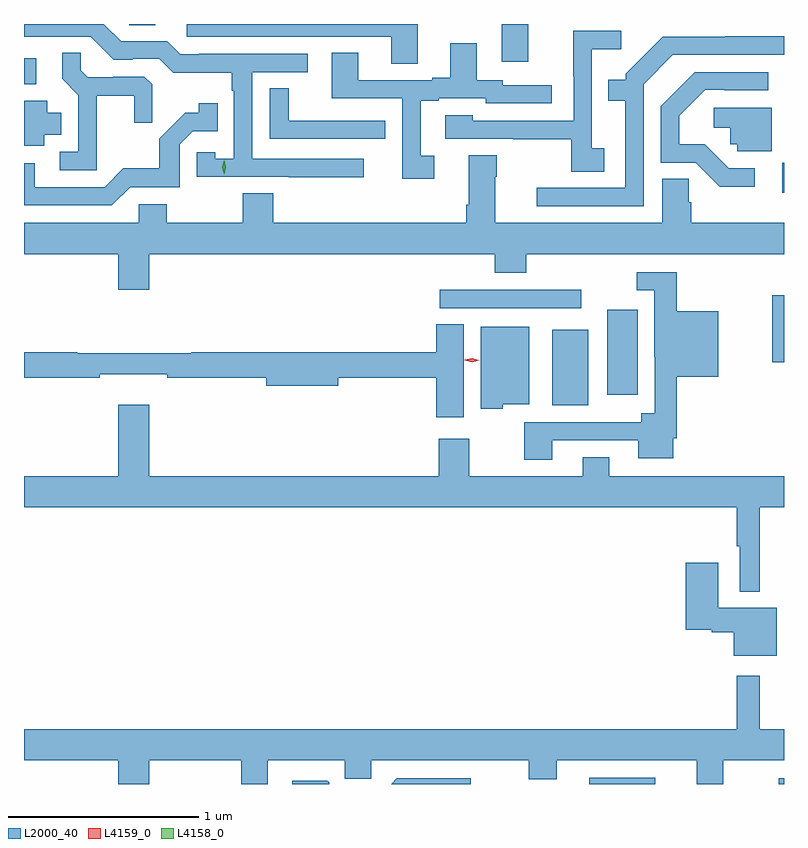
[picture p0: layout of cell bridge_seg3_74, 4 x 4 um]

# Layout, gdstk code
import gdstk
lib = gdstk.Library(unit=1e-6, precision=1e-09)
def R(c, l, rs):  # rectangles x0, y0, x1, y1
    for r in rs: c.add(gdstk.rectangle(r[:2], r[2:], *l))
def P(c, l, *ps):  # polygons
    for p in ps: c.add(gdstk.Polygon(p, *l))
L2000_40 = (2000, 40)
L4158_0 = (4158, 0)
L4159_0 = (4159, 0)

bridge_seg3_74 = lib.new_cell('bridge_seg3_74')
R(bridge_seg3_74, L2000_40, [(479.177,707.451,479.524,707.484), (480.173,707.451,480.201,707.481), (478.982,709.445,479.17,709.843), (479.27,709.5,479.431,709.948), (480.14,709.67,480.201,710.023), (478.389,709.956,479.134,710.052), (480.191,710.562,480.201,710.722), (476.201,711.135,476.266,711.271), (478.715,711.252,478.855,711.451), (476.754,711.445,476.893,711.451)])
P(bridge_seg3_74, L2000_40, [(477.988,710.742),(477.402,710.742),(477.402,711.198),(477.694,711.198),(477.694,711.294),(477.124,711.294),(477.124,711.291),(477.024,711.291),(476.955,711.36),(476.712,711.36),(476.621,711.451),(476.201,711.451),(476.201,711.384),(476.553,711.384),(476.673,711.264),(476.774,711.264),(476.774,711.267),(476.913,711.267),(476.986,711.194),(477.294,711.194),(477.294,711.101),(477.306,711.101),(477.306,710.743),(477.207,710.743),(477.207,710.775),(477.111,710.775),(477.111,710.646),(477.595,710.646),(477.595,710.644),(477.988,710.644)],
  [(478.273,711.451),(477.057,711.451),(477.057,711.384),(478.133,711.384),(478.133,711.241),(478.273,711.241)],
  [(479.254,710.796),(479.19,710.796),(479.19,711.317),(479.344,711.317),(479.344,711.415),(479.092,711.415),(479.092,711.176),(479.094,711.176),(479.094,710.943),(478.563,710.943),(478.563,710.971),(478.419,710.971),(478.419,710.847),(478.777,710.847),(478.777,710.845),(479.082,710.845),(479.082,710.674),(479.254,710.674)],
  [(479.463,711.135),(479.616,711.288),(480.201,711.288),(480.201,711.386),(479.893,711.386),(479.893,711.384),(479.562,711.384),(479.367,711.189),(479.367,711.157),(479.275,711.157),(479.275,711.048),(479.366,711.048),(479.366,710.589),(478.899,710.589),(478.899,710.493),(479.463,710.493)],
  [(478.36,710.757),(478.288,710.757),(478.288,711.048),(478.384,711.048),(478.384,711.06),(478.632,711.06),(478.632,711.033),(478.978,711.033),(478.978,711.129),(478.722,711.129),(478.722,711.156),(478.585,711.156),(478.585,711.349),(478.445,711.349),(478.445,711.169),(478.349,711.169),(478.349,711.156),(477.961,711.156),(477.961,711.299),(477.821,711.299),(477.821,711.06),(478.191,711.06),(478.191,710.637),(478.36,710.637)],
  [(476.585,711.074),(476.782,711.074),(476.782,710.931),(476.876,710.931),(476.876,711.133),(476.835,711.174),(476.67,711.174),(476.67,711.171),(476.536,711.171),(476.499,711.208),(476.499,711.299),(476.401,711.299),(476.401,711.163),(476.487,711.077),(476.487,710.778),(476.388,710.778),(476.388,710.682),(476.585,710.682)],
  [(480.046,710.691),(479.91,710.691),(479.783,710.818),(479.65,710.818),(479.65,710.968),(479.787,711.105),(479.887,711.105),(479.887,711.102),(480.118,711.102),(480.118,711.198),(479.732,711.198),(479.553,711.019),(479.553,710.721),(479.736,710.721),(479.864,710.594),(480.046,710.594)],
  [(478.102,710.942),(477.989,710.942),(477.989,710.943),(477.594,710.943),(477.594,711.113),(477.495,711.113),(477.495,710.847),(478.102,710.847)],
  [(476.308,710.867),(476.398,710.867),(476.398,710.983),(476.323,710.983),(476.323,711.046),(476.201,711.046),(476.201,710.81),(476.308,710.81)],
  [(476.76,710.592),(477.021,710.592),(477.021,710.817),(477.09,710.886),(477.221,710.886),(477.221,711.034),(477.12,711.034),(477.12,710.984),(477.05,710.984),(476.913,710.846),(476.913,710.691),(476.724,710.691),(476.625,710.592),(476.257,710.592),(476.257,710.718),(476.201,710.718),(476.201,710.496),(476.664,710.496)],
  [(480.136,711.009),(479.832,711.009),(479.832,710.906),(479.919,710.906),(479.919,710.817),(479.955,710.817),(479.955,710.781),(480.136,710.781)],
  [(476.86,710.24),(478.679,710.24),(478.679,710.141),(478.844,710.141),(478.844,710.24),(480.201,710.24),(480.201,710.404),(479.714,710.404),(479.714,710.514),(479.699,710.514),(479.699,710.636),(479.561,710.636),(479.561,710.404),(478.681,710.404),(478.681,710.648),(478.689,710.648),(478.689,710.761),(478.541,710.761),(478.541,710.5),(478.529,710.5),(478.529,710.404),(477.512,710.404),(477.512,710.561),(477.352,710.561),(477.352,710.404),(476.952,710.404),(476.952,710.502),(476.805,710.502),(476.805,710.404),(476.201,710.404),(476.201,710.24),(476.696,710.24),(476.696,710.052),(476.86,710.052)],
  [(478.981,709.26),(479.435,709.26),(479.435,709.166),(479.617,709.166),(479.617,709.27),(479.636,709.27),(479.636,709.595),(479.854,709.595),(479.854,709.939),(479.636,709.939),(479.636,710.145),(479.427,710.145),(479.427,710.049),(479.519,710.049),(479.519,709.699),(479.52,709.699),(479.52,709.402),(479.45,709.402),(479.45,709.356),(478.834,709.356),(478.834,709.158),(478.981,709.158)],
  [(478.516,709.871),(478.37,709.871),(478.37,709.724),(477.08,709.724),(477.08,709.717),(476.48,709.717),(476.48,709.724),(476.201,709.724),(476.201,709.588),(476.6,709.588),(476.6,709.607),(476.956,709.607),(476.956,709.588),(477.476,709.588),(477.476,709.546),(477.856,709.546),(477.856,709.588),(478.37,709.588),(478.37,709.38),(478.516,709.38)],
  [(478.722,709.451),(478.861,709.451),(478.861,709.858),(478.604,709.858),(478.604,709.427),(478.722,709.427)],
  [(480.073,708.908),(480.201,708.908),(480.201,709.072),(479.281,709.072),(479.281,709.171),(479.141,709.171),(479.141,709.072),(478.545,709.072),(478.545,709.267),(478.385,709.267),(478.385,709.072),(476.86,709.072),(476.86,709.447),(476.696,709.447),(476.696,709.072),(476.201,709.072),(476.201,708.908),(479.952,708.908),(479.952,708.703),(479.969,708.703),(479.969,708.464),(480.073,708.464)],
  [(480.163,708.379),(479.854,708.379),(479.854,708.616),(479.684,708.616),(479.684,708.263),(479.82,708.263),(479.82,708.251),(479.936,708.251),(479.936,708.125),(480.163,708.125)],
  [(476.86,707.576),(477.344,707.576),(477.344,707.451),(477.484,707.451),(477.484,707.576),(477.89,707.576),(477.89,707.478),(478.029,707.478),(478.029,707.576),(478.858,707.576),(478.858,707.477),(479.005,707.477),(479.005,707.576),(479.741,707.576),(479.741,707.451),(479.881,707.451),(479.881,707.576),(480.201,707.576),(480.201,707.74),(480.073,707.74),(480.073,708.022),(479.952,708.022),(479.952,707.74),(476.201,707.74),(476.201,707.576),(476.696,707.576),(476.696,707.451),(476.86,707.451)],
  [(478.552,707.481),(478.164,707.481),(478.134,707.451),(478.552,707.451)],
  [(477.808,707.459),(477.798,707.469),(477.612,707.469),(477.612,707.451),(477.808,707.451)])
P(bridge_seg3_74, L4158_0, [(477.254,710.661),(477.254,710.661),(477.244,710.697),(477.254,710.733),(477.254,710.733),(477.254,710.733),(477.264,710.697),(477.254,710.661)])
P(bridge_seg3_74, L4159_0, [(478.559,709.672),(478.522,709.682),(478.522,709.682),(478.522,709.683),(478.559,709.692),(478.597,709.682),(478.597,709.681),(478.597,709.681)])

lib.write_gds('bridge_seg3_74.gds')
